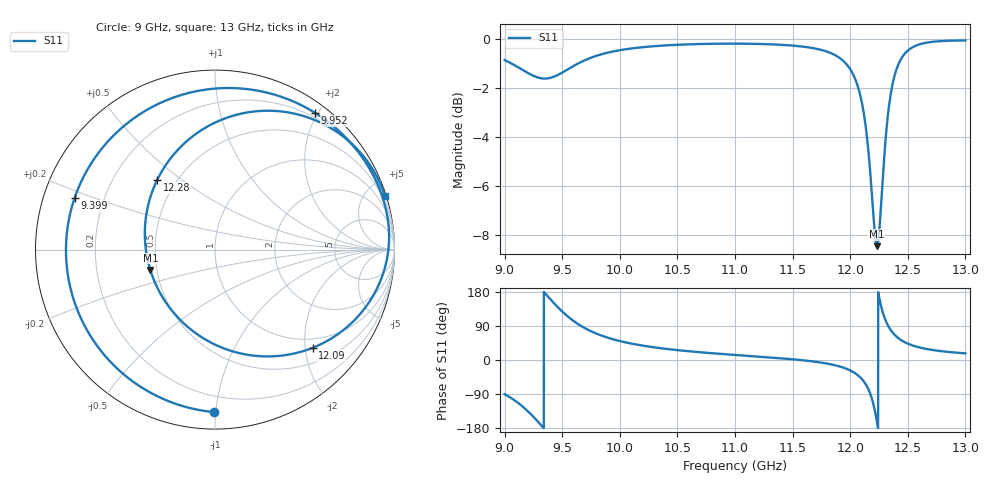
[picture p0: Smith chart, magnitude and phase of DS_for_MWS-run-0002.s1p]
! TOUCHSTONE file generated by CST DESIGN STUDIO
! Date and time: Tue Feb  4 16:38:33 2025
! Project name: C:\Work\MatlabApps\UnitCellOptimizationMatlab\CST\unitcell.cst
! Tree item: Tasks\Sweep1\SPara1\S-Parameters
! Header version: 2024
! Port assignment regex: !\s*Touchstone port\s*([0-9]+)\s*=\s*(CST MWS port|CST DES external port|CST DES block port)\s*(.+)\s* \(\"(.*)\"\)(\s*mode\s*([0-9]+))?.*
! Touchstone port assignment:
! Touchstone port 1 = CST DES external port 1 ("")
# GHz S MA R 50
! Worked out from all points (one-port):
!   4001 points, 9 GHz to 13 GHz, reference 50 ohm
!   lowest |S11| = -8.5 dB at 12.23 GHz (marker M1), VSWR 2.21, Z = 23 - j6.11 ohm
!   |S11| at or under -10 dB: nowhere
!   S11 on the Smith chart (normalised r, x): 9 GHz: 0.10, -0.99; 9.399 GHz: 0.09, +0.18; 9.952 GHz: 0.14, +1.96; 12.09 GHz: 0.80, -2.16; 12.28 GHz: 0.39, +0.41; 13 GHz: 0.15, +6.48
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9  0.9057 -90.2
9.102  0.8798 -109.8
9.19  0.8556 -131.9
9.302  0.8328 -167.0
9.399  0.8334 159.7
9.5  0.8539 127.9
9.578  0.8753 107.6
9.667  0.8982 89.2
9.801  0.9246 69.1
9.952  0.9441 53.8
10  0.9487 50.0
10.5  0.973 26.1
11  0.9783 13.4
11.5  0.9694 1.9
11.828  0.9366 -11.1
12  0.8677 -27.5
12.085  0.7715 -45.2
12.134  0.6645 -63.6
12.169  0.5526 -84.9
12.2  0.441 -114.9
12.232  0.3779 -162.5
12.279  0.505 129.6
12.316  0.6592 98.3
12.356  0.7821 77.3
12.422  0.8918 56.7
12.5  0.9468 43.2
12.677  0.984 28.3
13  0.993 17.5
